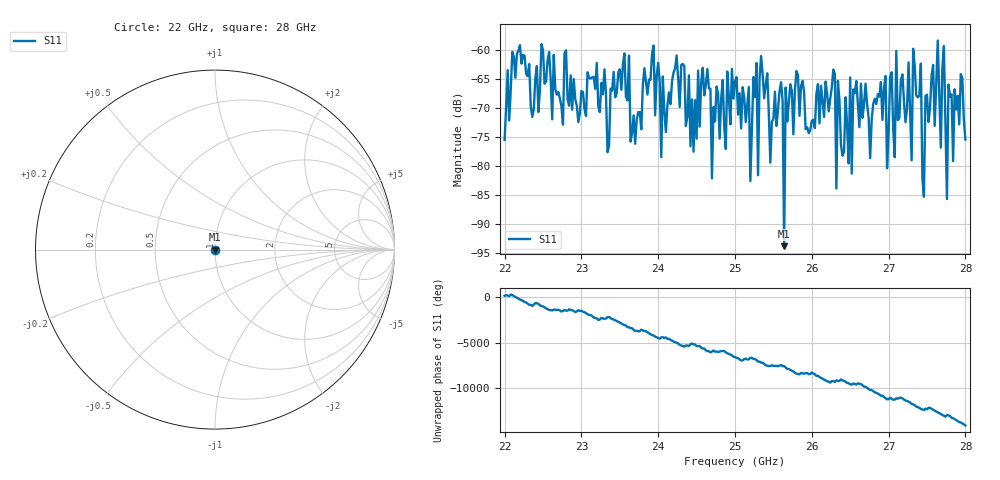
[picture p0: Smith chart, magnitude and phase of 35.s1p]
#  HZ  S  RI  R  50.00
! Rohde & Schwarz ZVA40 4Ports - Version 3.90 - 1145.1110k42 SN: 100403
! Date: 2023-10-04 09:25:22
! Measurement: S12
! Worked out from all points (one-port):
!   301 points, 22 GHz to 28 GHz, reference 50 ohm
!   lowest |S11| = -93.8 dB at 25.64 GHz (marker M1), VSWR 1.00, Z = 50 + j0.000345 ohm
!   |S11| at or under -10 dB: start of sweep to end of sweep
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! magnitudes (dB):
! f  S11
! 22 GHz  -75.5
! 22.2 GHz  -59.2
! 22.76 GHz  -72.9
! 23.5 GHz  -63.4
! 23.94 GHz  -59.3
! 24.04 GHz  -78.5
! 24.26 GHz  -64.9
! 24.64 GHz  -63.3
! 24.7 GHz  -82.1
! 25 GHz  -65.4
! 25.64 GHz  -93.8
! 25.76 GHz  -74.5
! 26.28 GHz  -63.4
! 26.48 GHz  -79.5
! 26.5 GHz  -64.8
! 26.52 GHz  -81.3
! 26.96 GHz  -64.5
! 26.98 GHz  -80.4
! 27.26 GHz  -62.2
! 27.3 GHz  -79.0
! 27.32 GHz  -59.8
! 27.42 GHz  -62.4
! 27.44 GHz  -82.2
! 27.64 GHz  -58.4
! 27.68 GHz  -76.8
! 27.72 GHz  -59.4
! 27.76 GHz  -85.7
! 28 GHz  -75.4
